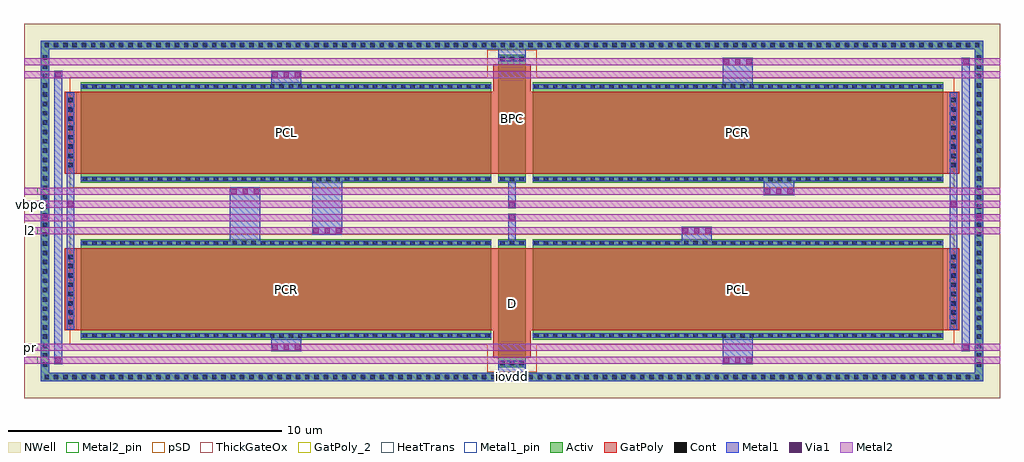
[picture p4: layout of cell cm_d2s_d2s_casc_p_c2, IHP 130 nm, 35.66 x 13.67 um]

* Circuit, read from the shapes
.subckt cm_d2s_d2s_casc_p_c2 a iovdd l2 pl pr vbpc
XM1 a vbpc pr iovdd sg13_hv_pmos w=15u l=3u m=2
XM2 pl vbpc l2 iovdd sg13_hv_pmos w=15u l=3u m=2
XM3 iovdd vbpc iovdd iovdd sg13_hv_pmos w=1u l=4u
XM4 iovdd vbpc vbpc iovdd sg13_hv_pmos w=1u l=4u
.ends

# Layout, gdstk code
from math import pi, radians
import gdstk
lib = gdstk.Library(unit=1e-6, precision=1e-09)
def R(c, l, rs):  # rectangles x0, y0, x1, y1
    for r in rs: c.add(gdstk.rectangle(r[:2], r[2:], *l))
def A(c, l, x, y, w, h, nx, ny, dx, dy):  # array of equal rectangles
    R(c, l, [(x+i*dx, y+j*dy, x+i*dx+w, y+j*dy+h) for i in range(nx) for j in range(ny)])
Activ = (1, 0)
GatPoly = (5, 0)
GatPoly_2 = (5, 2)
Cont = (6, 0)
Metal1 = (8, 0)
Metal1_pin = (8, 2)
Metal2 = (10, 0)
Metal2_pin = (10, 2)
pSD = (14, 0)
Via1 = (19, 0)
NWell = (31, 0)
ThickGateOx = (44, 0)
HeatTrans = (51, 0)

cm_d2s_pmoshv_w1_l4 = lib.new_cell('cm_d2s_pmosHV_w1_l4')
R(cm_d2s_pmoshv_w1_l4, Activ, [(0,0,0.3,0.3), (0,0,4.68,1), (4.38,0,4.68,0.3)])
R(cm_d2s_pmoshv_w1_l4, GatPoly, [(0.34,-0.18,4.34,1.18)])
R(cm_d2s_pmoshv_w1_l4, GatPoly_2, [(0.34,-0.18,4.34,1.18)])
A(cm_d2s_pmoshv_w1_l4, Cont, 0.07, 0.07, 0.16, 0.16, 1, 3, 0, 0.35)
A(cm_d2s_pmoshv_w1_l4, Cont, 4.45, 0.07, 0.16, 0.16, 1, 3, 0, 0.35)
R(cm_d2s_pmoshv_w1_l4, Metal1, [(0.07,0,0.23,1), (4.45,0,4.61,1)])
R(cm_d2s_pmoshv_w1_l4, Metal1_pin, [(0.07,0,0.23,1), (4.45,0,4.61,1)])
R(cm_d2s_pmoshv_w1_l4, pSD, [(-0.18,-0.4,4.86,1.4)])
R(cm_d2s_pmoshv_w1_l4, NWell, [(-0.62,-0.62,5.3,1.62)])
R(cm_d2s_pmoshv_w1_l4, ThickGateOx, [(-0.62,-0.62,5.3,1.62)])
R(cm_d2s_pmoshv_w1_l4, HeatTrans, [(0.34,-0.18,4.34,1.18)])
cm_d2s_pmoshv_w1_l4.add(gdstk.Label('pmosHV', (2.34,0.5), layer=63, texttype=0))
cm_d2s_pmoshv_w1_l4.add(gdstk.Label('pmos', (2.34,0.5), layer=51, texttype=0))

cm_d2s_pmoshv_w15_l3 = lib.new_cell('cm_d2s_pmosHV_w15_l3')
R(cm_d2s_pmoshv_w15_l3, Activ, [(0,0,0.3,0.3), (0,0,3.68,15), (3.38,0,3.68,0.3)])
R(cm_d2s_pmoshv_w15_l3, GatPoly, [(0.34,-0.18,3.34,15.18)])
R(cm_d2s_pmoshv_w15_l3, GatPoly_2, [(0.34,-0.18,3.34,15.18)])
A(cm_d2s_pmoshv_w15_l3, Cont, 0.07, 0.07, 0.16, 0.16, 1, 3, 0, 0.34)
A(cm_d2s_pmoshv_w15_l3, Cont, 3.45, 0.07, 0.16, 0.16, 1, 3, 0, 0.34)
A(cm_d2s_pmoshv_w15_l3, Cont, 0.07, 1.095, 0.16, 0.16, 1, 3, 0, 0.34)
A(cm_d2s_pmoshv_w15_l3, Cont, 3.45, 1.095, 0.16, 0.16, 1, 3, 0, 0.34)
A(cm_d2s_pmoshv_w15_l3, Cont, 0.07, 2.12, 0.16, 0.16, 1, 3, 0, 0.34)
A(cm_d2s_pmoshv_w15_l3, Cont, 3.45, 2.12, 0.16, 0.16, 1, 3, 0, 0.34)
A(cm_d2s_pmoshv_w15_l3, Cont, 0.07, 3.83, 0.16, 0.16, 1, 3, 0, 0.34)
A(cm_d2s_pmoshv_w15_l3, Cont, 3.45, 3.83, 0.16, 0.16, 1, 3, 0, 0.34)
A(cm_d2s_pmoshv_w15_l3, Cont, 0.07, 4.855, 0.16, 0.16, 1, 3, 0, 0.34)
A(cm_d2s_pmoshv_w15_l3, Cont, 3.45, 4.855, 0.16, 0.16, 1, 3, 0, 0.34)
A(cm_d2s_pmoshv_w15_l3, Cont, 0.07, 6.565, 0.16, 0.16, 1, 3, 0, 0.34)
A(cm_d2s_pmoshv_w15_l3, Cont, 3.45, 6.565, 0.16, 0.16, 1, 3, 0, 0.34)
A(cm_d2s_pmoshv_w15_l3, Cont, 0.07, 7.59, 0.16, 0.16, 1, 3, 0, 0.34)
A(cm_d2s_pmoshv_w15_l3, Cont, 3.45, 7.59, 0.16, 0.16, 1, 3, 0, 0.34)
A(cm_d2s_pmoshv_w15_l3, Cont, 0.07, 9.3, 0.16, 0.16, 1, 3, 0, 0.34)
A(cm_d2s_pmoshv_w15_l3, Cont, 3.45, 9.3, 0.16, 0.16, 1, 3, 0, 0.34)
A(cm_d2s_pmoshv_w15_l3, Cont, 0.07, 10.325, 0.16, 0.16, 1, 3, 0, 0.34)
A(cm_d2s_pmoshv_w15_l3, Cont, 3.45, 10.325, 0.16, 0.16, 1, 3, 0, 0.34)
A(cm_d2s_pmoshv_w15_l3, Cont, 0.07, 12.035, 0.16, 0.16, 1, 3, 0, 0.34)
A(cm_d2s_pmoshv_w15_l3, Cont, 3.45, 12.035, 0.16, 0.16, 1, 3, 0, 0.34)
A(cm_d2s_pmoshv_w15_l3, Cont, 0.07, 13.06, 0.16, 0.16, 1, 3, 0, 0.34)
A(cm_d2s_pmoshv_w15_l3, Cont, 3.45, 13.06, 0.16, 0.16, 1, 3, 0, 0.34)
R(cm_d2s_pmoshv_w15_l3, Cont, [(0.07,3.145,0.23,3.305), (3.45,3.145,3.61,3.305), (0.07,3.485,0.23,3.645), (3.45,3.485,3.61,3.645), (0.07,5.88,0.23,6.04), (3.45,5.88,3.61,6.04), (0.07,6.22,0.23,6.38), (3.45,6.22,3.61,6.38), (0.07,8.615,0.23,8.775), (3.45,8.615,3.61,8.775), (0.07,8.955,0.23,9.115), (3.45,8.955,3.61,9.115), (0.07,11.35,0.23,11.51), (3.45,11.35,3.61,11.51), (0.07,11.69,0.23,11.85), (3.45,11.69,3.61,11.85), (0.07,14.085,0.23,14.245), (3.45,14.085,3.61,14.245), (0.07,14.425,0.23,14.585), (3.45,14.425,3.61,14.585), (0.07,14.77,0.23,14.93), (3.45,14.77,3.61,14.93)])
R(cm_d2s_pmoshv_w15_l3, Metal1, [(0.07,0,0.23,15), (3.45,0,3.61,15)])
R(cm_d2s_pmoshv_w15_l3, Metal1_pin, [(0.07,0,0.23,15), (3.45,0,3.61,15)])
R(cm_d2s_pmoshv_w15_l3, pSD, [(-0.18,-0.4,3.86,15.4)])
R(cm_d2s_pmoshv_w15_l3, NWell, [(-0.62,-0.62,4.3,15.62)])
R(cm_d2s_pmoshv_w15_l3, ThickGateOx, [(-0.62,-0.62,4.3,15.62)])
R(cm_d2s_pmoshv_w15_l3, HeatTrans, [(0.34,-0.18,3.34,15.18)])
cm_d2s_pmoshv_w15_l3.add(gdstk.Label('pmosHV', (1.84,7.5), layer=63, texttype=0))
cm_d2s_pmoshv_w15_l3.add(gdstk.Label('pmos', (1.84,7.5), layer=51, texttype=0))

cm_d2s_d2s_casc_p_c2 = lib.new_cell('cm_d2s_d2s_casc_p_c2')
R(cm_d2s_d2s_casc_p_c2, Activ, [(0.62,0.62,35.04,0.92), (0.62,0.92,0.92,12.75), (34.74,0.92,35.04,12.75), (0.62,12.75,35.04,13.05)])
R(cm_d2s_d2s_casc_p_c2, GatPoly, [(1.48,2.47,2.08,5.47), (33.58,2.47,34.18,5.47), (1.48,8.2,2.08,11.2), (33.58,8.2,34.18,11.2)])
A(cm_d2s_d2s_casc_p_c2, Cont, 0.75, 0.69, 0.16, 0.16, 101, 2, 0.34, 12.13)
A(cm_d2s_d2s_casc_p_c2, Cont, 0.69, 1.145, 0.16, 0.16, 1, 34, 0, 0.34)
A(cm_d2s_d2s_casc_p_c2, Cont, 34.81, 1.145, 0.16, 0.16, 1, 34, 0, 0.34)
A(cm_d2s_d2s_casc_p_c2, Cont, 1.62, 2.7, 0.16, 0.16, 1, 8, 0, 0.34)
A(cm_d2s_d2s_casc_p_c2, Cont, 33.88, 2.7, 0.16, 0.16, 1, 8, 0, 0.34)
A(cm_d2s_d2s_casc_p_c2, Cont, 1.62, 8.43, 0.16, 0.16, 1, 8, 0, 0.34)
A(cm_d2s_d2s_casc_p_c2, Cont, 33.88, 8.43, 0.16, 0.16, 1, 8, 0, 0.34)
R(cm_d2s_d2s_casc_p_c2, Metal1, [(0.62,0.62,35.04,0.92), (17.33,0.62,18.33,1.2), (0.62,0.92,0.92,12.75), (34.74,0.92,35.04,12.75), (1.1,1.235,1.39,11.955), (25.525,1.235,26.635,2.36), (9.025,1.715,10.135,2.36), (34.27,1.715,34.56,12.435), (1.57,2.49,1.83,5.45), (1.57,2.49,1.83,11.18), (33.83,2.49,34.09,5.45), (33.83,2.49,34.09,11.18), (7.525,5.58,8.635,7.7), (17.685,5.58,17.975,6.74), (24.025,5.58,25.135,6.26), (10.525,5.97,11.635,8.09), (17.685,6.93,17.975,8.09), (27.025,7.41,28.135,8.09), (1.57,8.22,1.83,11.18), (33.83,8.22,34.09,11.18), (9.025,11.31,10.135,11.955), (25.525,11.31,26.635,12.435), (17.33,12.47,18.33,13.05), (0.62,12.75,35.04,13.05)])
R(cm_d2s_d2s_casc_p_c2, Metal1_pin, [(16.83,0.62,18.83,0.92)])
A(cm_d2s_d2s_casc_p_c2, Metal2, 0, 5.985, 35.66, 0.26, 1, 4, 0, 0.48)
R(cm_d2s_d2s_casc_p_c2, Metal2, [(0,1.25,35.66,1.51), (0,1.73,35.66,1.99), (0,11.68,35.66,11.94), (0,12.16,35.66,12.42)])
R(cm_d2s_d2s_casc_p_c2, Metal2_pin, [(0,1.25,0.5,1.51), (0,1.73,0.5,1.99), (0,5.985,0.5,6.245), (0,6.945,0.5,7.205), (0,7.425,0.5,7.685)])
A(cm_d2s_d2s_casc_p_c2, Via1, 25.575, 1.285, 0.19, 0.19, 3, 2, 0.41, 10.91)
A(cm_d2s_d2s_casc_p_c2, Via1, 9.075, 1.765, 0.19, 0.19, 3, 2, 0.41, 9.95)
A(cm_d2s_d2s_casc_p_c2, Via1, 10.575, 6.02, 0.19, 0.19, 3, 1, 0.41, 0)
A(cm_d2s_d2s_casc_p_c2, Via1, 24.075, 6.02, 0.19, 0.19, 3, 1, 0.41, 0)
A(cm_d2s_d2s_casc_p_c2, Via1, 0.675, 6.5, 0.19, 0.19, 3, 1, 17.06, 0)
A(cm_d2s_d2s_casc_p_c2, Via1, 1.605, 6.98, 0.19, 0.19, 3, 1, 16.13, 0)
A(cm_d2s_d2s_casc_p_c2, Via1, 7.575, 7.46, 0.19, 0.19, 3, 1, 0.41, 0)
A(cm_d2s_d2s_casc_p_c2, Via1, 27.075, 7.46, 0.19, 0.19, 3, 1, 0.41, 0)
R(cm_d2s_d2s_casc_p_c2, Via1, [(1.15,1.285,1.34,1.475), (34.32,1.765,34.51,1.955), (1.15,11.715,1.34,11.905), (34.32,12.195,34.51,12.385)])
R(cm_d2s_d2s_casc_p_c2, NWell, [(0,0,35.66,13.67)])
R(cm_d2s_d2s_casc_p_c2, ThickGateOx, [(0,0,35.66,13.67)])
cm_d2s_d2s_casc_p_c2.add(gdstk.Reference(cm_d2s_pmoshv_w1_l4, (18.33,1.13), rotation=pi/2))
cm_d2s_d2s_casc_p_c2.add(gdstk.Reference(cm_d2s_pmoshv_w1_l4, (18.33,12.54), rotation=3*pi/2, x_reflection=True))
cm_d2s_d2s_casc_p_c2.add(gdstk.Reference(cm_d2s_pmoshv_w15_l3, (17.08,2.13), rotation=pi/2))
cm_d2s_d2s_casc_p_c2.add(gdstk.Reference(cm_d2s_pmoshv_w15_l3, (18.58,11.54), rotation=3*pi/2))
cm_d2s_d2s_casc_p_c2.add(gdstk.Reference(cm_d2s_pmoshv_w15_l3, (18.58,2.13), rotation=pi/2, x_reflection=True))
cm_d2s_d2s_casc_p_c2.add(gdstk.Reference(cm_d2s_pmoshv_w15_l3, (17.08,11.54), rotation=3*pi/2, x_reflection=True))
cm_d2s_d2s_casc_p_c2.add(gdstk.Label('PCR', (9.58,3.97), layer=63, texttype=0))
cm_d2s_d2s_casc_p_c2.add(gdstk.Label('D', (17.83,3.47), layer=63, texttype=0))
cm_d2s_d2s_casc_p_c2.add(gdstk.Label('PCL', (26.08,3.97), layer=63, texttype=0))
cm_d2s_d2s_casc_p_c2.add(gdstk.Label('PCL', (9.58,9.7), layer=63, texttype=0))
cm_d2s_d2s_casc_p_c2.add(gdstk.Label('BPC', (17.83,10.2), layer=63, texttype=0))
cm_d2s_d2s_casc_p_c2.add(gdstk.Label('PCR', (26.08,9.7), layer=63, texttype=0))
cm_d2s_d2s_casc_p_c2.add(gdstk.Label('l2', (0.25,6.115), layer=10, texttype=25))
cm_d2s_d2s_casc_p_c2.add(gdstk.Label('vbpc', (0.25,7.075), layer=10, texttype=25))
cm_d2s_d2s_casc_p_c2.add(gdstk.Label('a', (0.25,7.555), layer=10, texttype=25))
cm_d2s_d2s_casc_p_c2.add(gdstk.Label('pr', (0.25,1.86), layer=10, texttype=25))
cm_d2s_d2s_casc_p_c2.add(gdstk.Label('pl', (0.25,1.38), layer=10, texttype=25))
cm_d2s_d2s_casc_p_c2.add(gdstk.Label('iovdd', (17.83,0.77), layer=8, texttype=25))

lib.write_gds('cm_d2s_d2s_casc_p_c2.gds')
